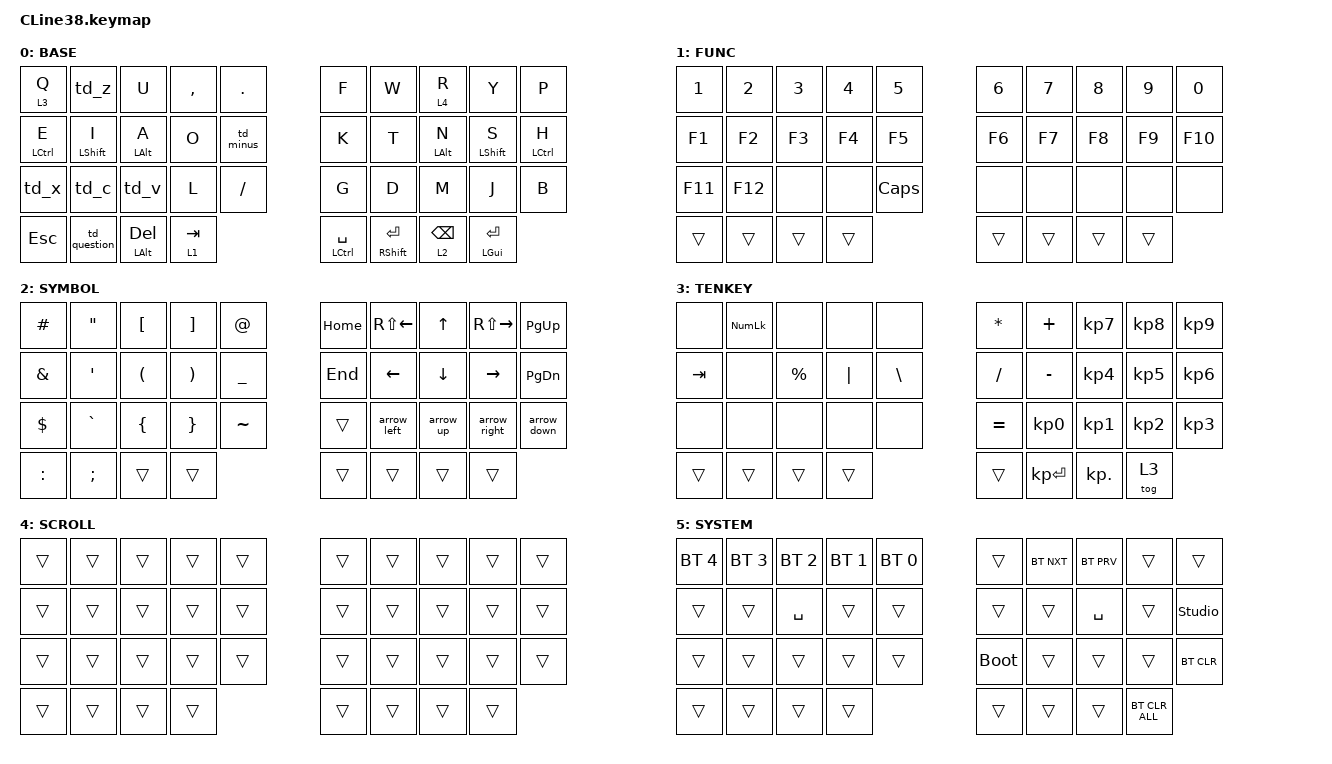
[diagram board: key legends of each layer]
#include <input/processors.dtsi>
#include <dt-bindings/zmk/input_transform.h>
#include <zephyr/dt-bindings/input/input-event-codes.h>
#include <behaviors.dtsi>
#include <behaviors/runtime_macro.dtsi>
#include <dt-bindings/zmk/bt.h>
#include <dt-bindings/zmk/keys.h>
#include <dt-bindings/zmk/pointing.h>

/* 大西配列。zmk-config-coron (coron_V2.keymap) をベースに CLine38 の 38 キーへ詰めたもの。
   coron の外側列 (Shift / Ctrl 等の修飾キー) は省略している。

   レイヤー:
     0 BASE    大西配列
     1 FUNC    数字・F キー           (td_1 ホールド)
     2 SYMBOL  記号・カーソル         (td_2 ホールド)
     3 TENKEY  テンキー               (Q ホールド。TENKEY 内の右端親指 tog 3 でトグル)
     4 SCROLL  トラックボールでスクロール (R ホールド。CLine38_R.overlay の scroller)
     5 SYSTEM  Bluetooth・ブートローダ (td_1 + td_2 同時ホールド)

   オートマウスレイヤーは使わない (小型でトラックボールに触れやすいため)。
   クリックは右上段のコンボで行う: W+R = 左, R+Y = 右, W+Y = 中央 */

&mt {
    flavor = "balanced";
    quick-tap-ms = <0>;
};

/ {
    combos {
        compatible = "zmk,combos";

        /* Positions follow &default_transform in CLine38.dtsi:
             row0 0..9   row1 10..19   row2 20..29   thumbs 30..37 */

        lang_e {                    /* A + O : 英数 */
            bindings = <&to_layer_0 LANGUAGE_2>;
            key-positions = <12 13>;
            layers = <0>;
        };

        lang_j {                    /* T + N : かな */
            bindings = <&to_layer_0 LANGUAGE_1>;
            key-positions = <16 17>;
            layers = <0>;
        };

        double_n {                  /* N + S : NN */
            bindings = <&double_n>;
            key-positions = <17 18>;
            layers = <0>;
        };

        mo_system {                 /* td_1 + td_2 held together */
            bindings = <&mo 5>;
            key-positions = <33 36>;
            layers = <0>;
        };

        /* マウスクリック。"ry" (りゃ/りゅ/りょ) などの打鍵中に誤爆しないよう、
           直前のキー入力から少し間が空いているときだけ成立させる。 */

        mouse_left {                /* W + R */
            bindings = <&mkp MB1>;
            key-positions = <6 7>;
            layers = <0>;
            timeout-ms = <40>;
            require-prior-idle-ms = <150>;
        };

        mouse_right {               /* R + Y */
            bindings = <&mkp MB2>;
            key-positions = <7 8>;
            layers = <0>;
            timeout-ms = <40>;
            require-prior-idle-ms = <150>;
        };

        mouse_middle {              /* W + Y */
            bindings = <&mkp MB3>;
            key-positions = <6 8>;
            layers = <0>;
            timeout-ms = <40>;
            require-prior-idle-ms = <150>;
        };
    };

    macros {
        to_layer_0: to_layer_0 {
            compatible = "zmk,behavior-macro-one-param";
            #binding-cells = <1>;
            bindings = <&to 0 &macro_param_1to1 &kp MACRO_PLACEHOLDER>;
            label = "TO_LAYER_0";
        };

        double_n: double_N {
            compatible = "zmk,behavior-macro";
            #binding-cells = <0>;
            bindings = <&kp N &kp N>;
            label = "DOUBLE_N";
        };

        /* Arrow symbols via Windows Unicode hex input.
           Requires HKCU\Control Panel\Input Method\EnableHexNumpad = "1"
           (REG_SZ, then sign out/in) and NumLock on. */

        arrow_left: arrow_left {          /* ← : Alt + KP_PLUS + 2190 (Unicode hex input) */
            compatible = "zmk,behavior-macro";
            #binding-cells = <0>;
            bindings
                = <&macro_press &kp LEFT_ALT>
                , <&macro_tap &kp KP_PLUS &kp KP_N2 &kp KP_N1 &kp KP_N9 &kp KP_N0>
                , <&macro_release &kp LEFT_ALT>
                ;
            label = "ARROW_LEFT";
        };

        arrow_up: arrow_up {          /* ↑ : Alt + KP_PLUS + 2191 (Unicode hex input) */
            compatible = "zmk,behavior-macro";
            #binding-cells = <0>;
            bindings
                = <&macro_press &kp LEFT_ALT>
                , <&macro_tap &kp KP_PLUS &kp KP_N2 &kp KP_N1 &kp KP_N9 &kp KP_N1>
                , <&macro_release &kp LEFT_ALT>
                ;
            label = "ARROW_UP";
        };

        arrow_right: arrow_right {          /* → : Alt + KP_PLUS + 2192 (Unicode hex input) */
            compatible = "zmk,behavior-macro";
            #binding-cells = <0>;
            bindings
                = <&macro_press &kp LEFT_ALT>
                , <&macro_tap &kp KP_PLUS &kp KP_N2 &kp KP_N1 &kp KP_N9 &kp KP_N2>
                , <&macro_release &kp LEFT_ALT>
                ;
            label = "ARROW_RIGHT";
        };

        arrow_down: arrow_down {          /* ↓ : Alt + KP_PLUS + 2193 (Unicode hex input) */
            compatible = "zmk,behavior-macro";
            #binding-cells = <0>;
            bindings
                = <&macro_press &kp LEFT_ALT>
                , <&macro_tap &kp KP_PLUS &kp KP_N2 &kp KP_N1 &kp KP_N9 &kp KP_N3>
                , <&macro_release &kp LEFT_ALT>
                ;
            label = "ARROW_DOWN";
        };
    };

    behaviors {
        td_z: td_z {
            compatible = "zmk,behavior-tap-dance";
            label = "TD_Z";
            #binding-cells = <0>;
            bindings = <&kp Z>, <&kp LC(Z)>, <&kp LC(LS(Z))>;
        };

        td_x: td_x {
            compatible = "zmk,behavior-tap-dance";
            label = "TD_X";
            #binding-cells = <0>;
            bindings = <&kp X>, <&kp LC(X)>;
        };

        td_c: td_c {
            compatible = "zmk,behavior-tap-dance";
            label = "TD_C";
            #binding-cells = <0>;
            bindings = <&kp C>, <&kp LC(C)>;
        };

        td_v: td_v {
            compatible = "zmk,behavior-tap-dance";
            label = "TD_V";
            #binding-cells = <0>;
            bindings = <&kp V>, <&kp LC(V)>;
        };

        td_minus: td_minus {
            compatible = "zmk,behavior-tap-dance";
            label = "TD_MINUS";
            #binding-cells = <0>;
            bindings = <&kp MINUS>, <&kp TILDE>;
        };

        td_question: td_question {
            compatible = "zmk,behavior-tap-dance";
            label = "TD_QUESTION";
            #binding-cells = <0>;
            bindings = <&kp QUESTION>, <&kp EXCLAMATION>;
        };

        /* td_*: tap = key, hold = layer/modifier, tap then hold = key repeat
           (hold-tap with quick-tap-ms). Usage: &td_1 <layer> <key>, etc. */

        td_1: td_1 {
            compatible = "zmk,behavior-hold-tap";
            label = "TD_1";
            #binding-cells = <2>;
            bindings = <&mo>, <&kp>;
            flavor = "balanced";
            tapping-term-ms = <150>;
            quick-tap-ms = <150>;
        };

        td_2: td_2 {
            compatible = "zmk,behavior-hold-tap";
            label = "TD_2";
            #binding-cells = <2>;
            bindings = <&mo>, <&kp>;
            flavor = "balanced";
            tapping-term-ms = <150>;
            quick-tap-ms = <150>;
        };

        td_3: td_3 {
            compatible = "zmk,behavior-hold-tap";
            label = "TD_3";
            #binding-cells = <2>;
            bindings = <&kp>, <&kp>;
            flavor = "balanced";
            tapping-term-ms = <150>;
            quick-tap-ms = <150>;
        };

        td_space: td_space {
            compatible = "zmk,behavior-hold-tap";
            label = "TD_SPACE";
            #binding-cells = <2>;
            bindings = <&kp>, <&kp>;
            flavor = "balanced";
            tapping-term-ms = <150>;
            quick-tap-ms = <150>;
        };

        td_enter: td_enter {
            compatible = "zmk,behavior-hold-tap";
            label = "TD_ENTER";
            #binding-cells = <2>;
            bindings = <&kp>, <&kp>;
            flavor = "balanced";
            tapping-term-ms = <150>;
            quick-tap-ms = <150>;
        };
    };

    keymap {
        compatible = "zmk,keymap";

        default_layer {
            display-name = "BASE";
            bindings = <
&lt 3 Q              &td_z                 &kp U                &kp COMMA  &kp PERIOD                                     &kp F  &kp W  &lt 4 R             &kp Y                 &kp P
&mt LEFT_CONTROL E   &mt LEFT_SHIFT I      &mt LEFT_ALT A       &kp O      &td_minus                                      &kp K  &kp T  &mt LEFT_ALT N      &mt LEFT_SHIFT S      &mt LEFT_CONTROL H
&td_x                &td_c                 &td_v                &kp L      &kp SLASH                                      &kp G  &kp D  &kp M               &kp J                 &kp B
          &kp ESC   &td_question  &td_3 LEFT_ALT DELETE  &td_1 1 TAB  &td_space LEFT_CONTROL SPACE    &td_enter RIGHT_SHIFT ENTER  &td_2 2 BACKSPACE    &mt LEFT_GUI ENTER
            >;
        };

        func_layer {
            display-name = "FUNC";
            bindings = <
&kp NUMBER_1  &kp NUMBER_2  &kp NUMBER_3  &kp NUMBER_4  &kp NUMBER_5         &kp NUMBER_6  &kp NUMBER_7  &kp NUMBER_8  &kp NUMBER_9  &kp NUMBER_0
&kp F1        &kp F2        &kp F3        &kp F4        &kp F5               &kp F6        &kp F7        &kp F8        &kp F9        &kp F10
&kp F11       &kp F12       &none         &none         &kp CAPSLOCK         &none         &none         &none         &none         &none
              &trans        &trans        &trans        &trans  &trans       &trans        &trans                                    &trans
            >;
        };

        symbol_layer {
            display-name = "SYMBOL";
            bindings = <
&kp HASH       &kp DOUBLE_QUOTES  &kp LEFT_BRACKET      &kp RIGHT_BRACKET      &kp AT_SIGN         &kp HOME     &kp RS(LEFT_ARROW)  &kp UP_ARROW    &kp RS(RIGHT_ARROW)  &kp PAGE_UP
&kp AMPERSAND  &kp SINGLE_QUOTE   &kp LEFT_PARENTHESIS  &kp RIGHT_PARENTHESIS  &kp UNDERSCORE      &kp END      &kp LEFT_ARROW      &kp DOWN_ARROW  &kp RIGHT_ARROW      &kp PAGE_DOWN
&kp DOLLAR     &kp GRAVE          &kp LEFT_BRACE        &kp RIGHT_BRACE        &kp TILDE           &trans       &arrow_left         &arrow_up       &arrow_right         &arrow_down
               &kp COLON          &kp SEMICOLON         &trans                 &trans  &trans      &trans       &trans                                                   &trans
            >;
        };

        tenkey_layer {
            display-name = "TENKEY";
            bindings = <
&none     &kp KP_NUMLOCK  &none    &none      &none              &kp ASTERISK     &kp PLUS         &kp KP_NUMBER_7  &kp KP_NUMBER_8  &kp KP_NUMBER_9
&kp TAB   &none      &kp PERCENT   &kp PIPE   &kp BACKSLASH      &kp SLASH        &kp MINUS        &kp KP_NUMBER_4  &kp KP_NUMBER_5  &kp KP_NUMBER_6
&none     &none      &none         &none      &none              &kp EQUAL        &kp KP_NUMBER_0  &kp KP_NUMBER_1  &kp KP_NUMBER_2  &kp KP_NUMBER_3
          &trans     &trans        &trans        &trans &trans       &kp KP_ENTER  &kp KP_DOT                                         &tog 3
            >;
        };

        scroll_layer {
            display-name = "SCROLL";
            bindings = <
&trans  &trans  &trans  &trans  &trans                 &trans  &trans  &trans  &trans  &trans
&trans  &trans  &trans  &trans  &trans                 &trans  &trans  &trans  &trans  &trans
&trans  &trans  &trans  &trans  &trans                 &trans  &trans  &trans  &trans  &trans
        &trans  &trans  &trans  &trans  &trans         &trans  &trans                  &trans
            >;
        };

        system_layer {
            display-name = "SYSTEM";
            bindings = <
&bt BT_SEL 4  &bt BT_SEL 3  &bt BT_SEL 2  &bt BT_SEL 1  &bt BT_SEL 0        &trans       &bt BT_NXT  &bt BT_PRV  &trans  &trans
&trans        &trans        &kp SPACE     &trans        &trans              &trans       &trans      &kp SPACE   &trans  &studio_unlock
&trans        &trans        &trans        &trans        &trans              &bootloader  &trans      &trans      &trans  &bt BT_CLR
        &trans  &trans        &trans        &trans  &trans      &trans        &trans                                    &bt BT_CLR_ALL
            >;
        };
    };
};
